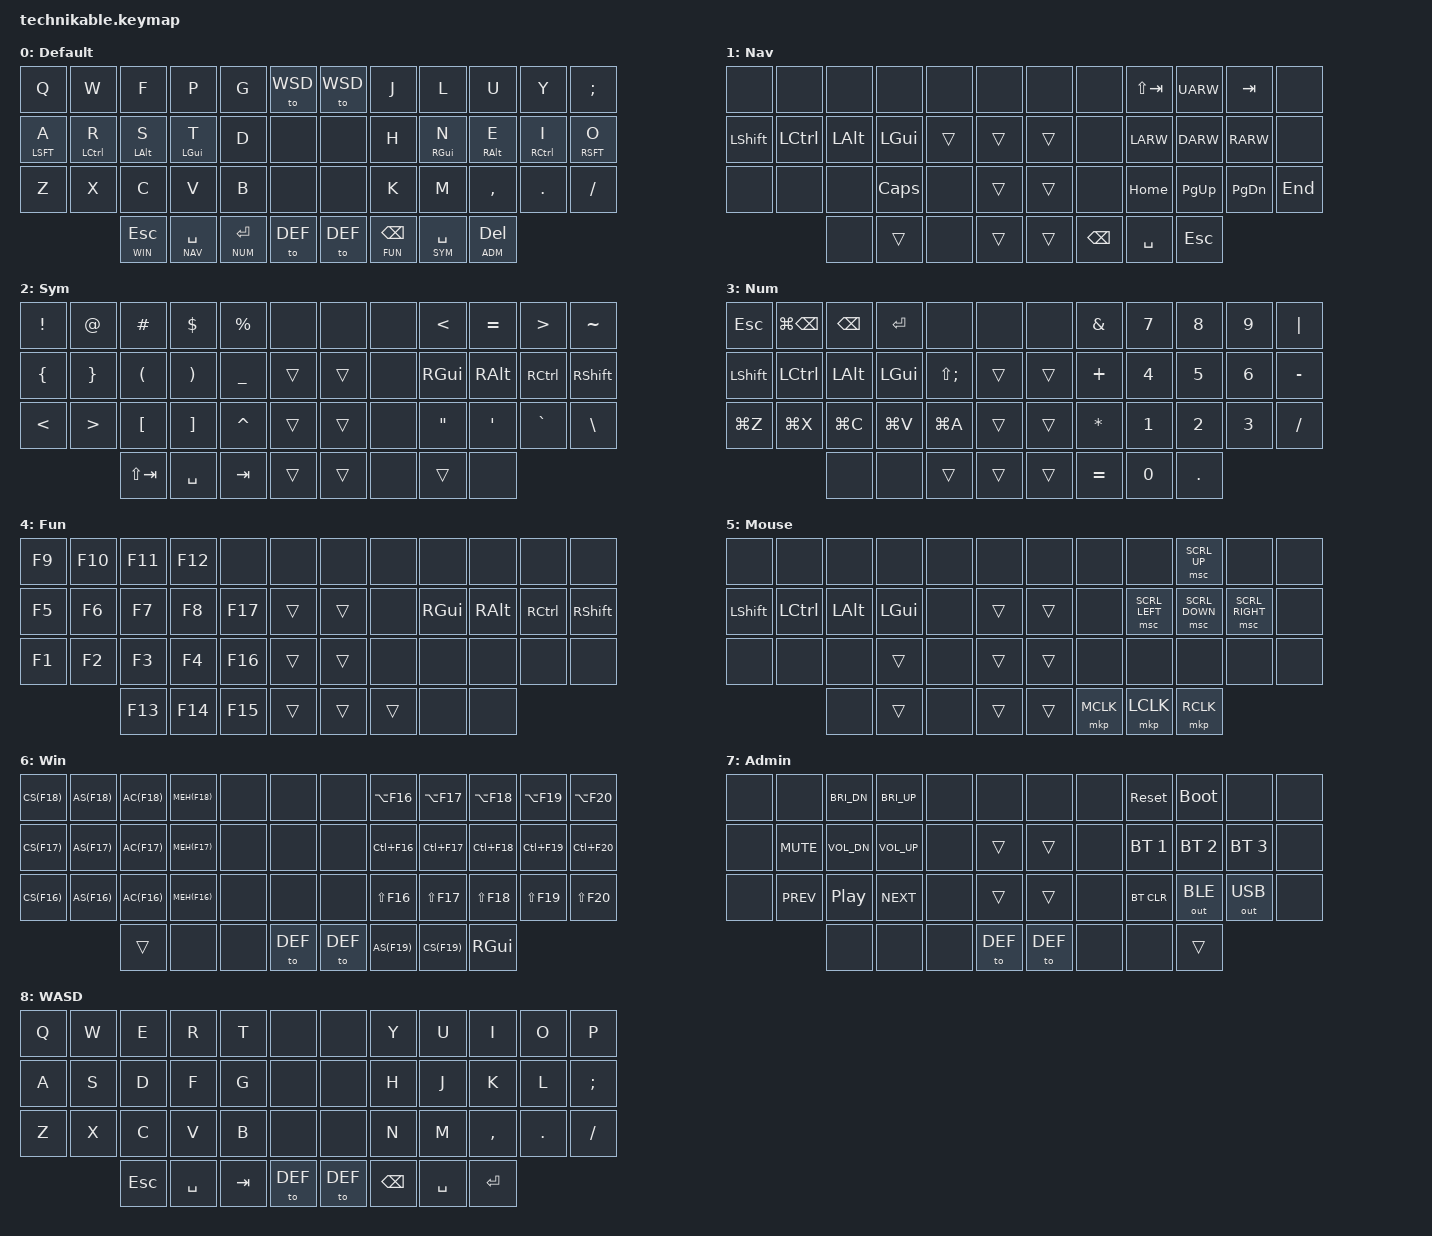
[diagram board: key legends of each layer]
/*
 * Copyright (c) 2022 Pete Johanson
 *
 * SPDX-License-Identifier: MIT
 */

#include <behaviors.dtsi>
#include <dt-bindings/zmk/keys.h>
#include <dt-bindings/zmk/bt.h>
#include <dt-bindings/zmk/outputs.h>
#include <dt-bindings/zmk/pointing.h>

#define TBLE_ORTHO   true

#define DEF 0
#define NAV 1
#define SYM 2
#define NUM 3
#define FUN 4
#define MSE 5
#define WIN 6
#define ADM 7
#define WSD 8

// Using layer taps on thumbs, having quick tap as well helps w/ repeating space/backspace
&lt { quick-tap-ms = <200>; };

#define BT(n) BT_SEL n
#define CS(n) LS(LC(n))
#define AS(n) LS(LA(n))
#define GS(n) LS(LG(n))
#define AC(n) LC(LA(n))
#define MEH(n) LS(LC(LA(n)))
#define HPR(n) LS(LC(LA(LG(n))))

/ {
    chosen {
       zmk,physical-layout = &technikable_ortho_layout;
    };

    behaviors {
        hm: homerow_mods {
            compatible = "zmk,behavior-hold-tap";
            display-name = "HOMEROW_MODS";
            #binding-cells = <2>;
            flavor = "tap-preferred";
            tapping-term-ms = <200>;                        // <---[[produces tap if held longer than tapping-term-ms]]
            quick-tap-ms = <100>;
            global-quick-tap;
            bindings = <&kp>, <&kp>;
        };
    };

    keymap {
        compatible = "zmk,keymap";

        base_layer {
            display-name = "Default";
            bindings = <
&kp Q           &kp W           &kp F           &kp P           &kp G           &to WSD         &to WSD         &kp J           &kp L           &kp U           &kp Y           &kp SEMI
&hm LSFT A      &hm LCTL R      &hm LALT S      &hm LGUI T      &kp D           &none           &none           &kp H           &hm RGUI N      &hm RALT E      &hm RCTL I      &hm RSFT O
&kp Z           &kp X           &kp C           &kp V           &kp B           &none           &none           &kp K           &kp M           &kp COMMA       &kp DOT         &kp SLASH
                                &lt WIN ESC     &lt NAV SPACE   &lt NUM RET     &to DEF         &to DEF         &lt FUN BSPC    &lt SYM SPACE   &lt ADM DEL
            >;
        };

        nav_layer {
            display-name = "Nav";
            bindings = <
&none           &none           &none           &none           &none           &none           &none           &none           &kp LS(TAB)     &kp UARW        &kp TAB         &none 
&kp LSHFT       &kp LCTRL       &kp LALT        &kp LGUI        &trans          &trans          &trans          &none           &kp LARW        &kp DARW        &kp RARW        &none 
&none           &none           &none           &kp CAPS        &none           &trans          &trans          &none           &kp HOME        &kp PG_UP       &kp PG_DN       &kp END 
                                &none           &trans          &none           &trans          &trans          &kp BSPC        &kp SPACE       &kp ESC
            >;
        };

        sym_layer {
            display-name = "Sym";
            bindings = <
&kp EXCL        &kp AT          &kp HASH        &kp DLLR        &kp PRCNT       &none           &none           &none           &kp LT          &kp EQUAL       &kp GT          &kp TILDE
&kp LBRC        &kp RBRC        &kp LPAR        &kp RPAR        &kp UNDER       &trans          &trans          &none           &kp RGUI        &kp RALT        &kp RCTL        &kp RSHFT
&kp LT          &kp GT          &kp LBKT        &kp RBKT        &kp CARET       &trans          &trans          &none           &kp DQT         &kp SQT         &kp GRAVE       &kp BSLH
                                &kp LS(TAB)     &kp SPACE       &kp TAB         &trans          &trans          &none           &trans          &none 
            >;
        };

        num_layer {
            display-name = "Num";
            bindings = <
&kp ESC         &kp LG(BSPC)    &kp BSPC        &kp RET         &none           &none           &none           &kp AMPS        &kp N7          &kp N8          &kp N9          &kp PIPE
&kp LSHFT       &kp LCTRL       &kp LALT        &kp LGUI        &kp LS(SEMI)    &trans          &trans          &kp PLUS        &kp N4          &kp N5          &kp N6          &kp MINUS
&kp LG(Z)       &kp LG(X)       &kp LG(C)       &kp LG(V)       &kp LG(A)       &trans          &trans          &kp ASTRK       &kp N1          &kp N2          &kp N3          &kp SLASH
                                &none           &none           &trans          &trans          &trans          &kp EQUAL       &kp N0          &kp DOT
            >;
        };

        fun_layer {
            display-name = "Fun";
            bindings = <
&kp F9          &kp F10         &kp F11         &kp F12         &none           &none           &none           &none           &none           &none           &none           &none 
&kp F5          &kp F6          &kp F7          &kp F8          &kp F17         &trans          &trans          &none           &kp RGUI        &kp RALT        &kp RCTL        &kp RSHFT
&kp F1          &kp F2          &kp F3          &kp F4          &kp F16         &trans          &trans          &none           &none           &none           &none           &none 
                                &kp F13         &kp F14         &kp F15         &trans          &trans          &trans          &none           &none 
            >;
        };

        mse_layer {
            display-name = "Mouse";
            bindings = <
&none           &none           &none           &none           &none           &none           &none           &none           &none           &msc SCRL_UP    &none           &none 
&kp LSHFT       &kp LCTRL       &kp LALT        &kp LGUI        &none           &trans          &trans          &none           &msc SCRL_LEFT  &msc SCRL_DOWN  &msc SCRL_RIGHT &none 
&none           &none           &none           &trans          &none           &trans          &trans          &none           &none           &none           &none           &none 
                                &none           &trans          &none           &trans          &trans          &mkp MCLK       &mkp LCLK       &mkp RCLK
            >;
        };

        win_layer {
            display-name = "Win";
            bindings = <
&kp CS(F18)     &kp AS(F18)     &kp AC(F18)     &kp MEH(F18)    &none           &none           &none           &kp LA(F16)     &kp LA(F17)     &kp LA(F18)     &kp LA(F19)     &kp LA(F20)
&kp CS(F17)     &kp AS(F17)     &kp AC(F17)     &kp MEH(F17)    &none           &none           &none           &kp LC(F16)     &kp LC(F17)     &kp LC(F18)     &kp LC(F19)     &kp LC(F20)
&kp CS(F16)     &kp AS(F16)     &kp AC(F16)     &kp MEH(F16)    &none           &none           &none           &kp LS(F16)     &kp LS(F17)     &kp LS(F18)     &kp LS(F19)     &kp LS(F20)
                                &trans          &none           &none           &to DEF         &to DEF         &kp AS(F19)     &kp CS(F19)     &kp RGUI
            >;
        };

        adm_layer {
            display-name = "Admin";
            bindings = <
&none           &none           &kp C_BRI_DN    &kp C_BRI_UP    &none           &none           &none           &none           &sys_reset      &bootloader     &none           &none
&none           &kp C_MUTE      &kp C_VOL_DN    &kp C_VOL_UP    &none           &trans          &trans          &none           &bt BT_SEL 1    &bt BT_SEL 2    &bt BT_SEL 3    &none
&none           &kp C_PREV      &kp C_PP        &kp C_NEXT      &none           &trans          &trans          &none           &bt BT_CLR      &out OUT_BLE    &out OUT_USB    &none
                                &none           &none           &none           &to DEF         &to DEF         &none           &none           &trans 
            >;
        };
        
        wsd_layer {
            display-name = "WASD";
            bindings = <
&kp Q           &kp W           &kp E           &kp R           &kp T           &none           &none           &kp Y           &kp U           &kp I           &kp O           &kp P
&kp A           &kp S           &kp D           &kp F           &kp G           &none           &none           &kp H           &kp J           &kp K           &kp L           &kp SEMI  
&kp Z           &kp X           &kp C           &kp V           &kp B           &none           &none           &kp N           &kp M           &kp COMMA       &kp DOT         &kp SLASH  
                                &kp ESC         &kp SPACE       &kp TAB         &to DEF         &to DEF         &kp BSPC        &kp SPACE       &kp RET  
            >;
        };

    };
};

